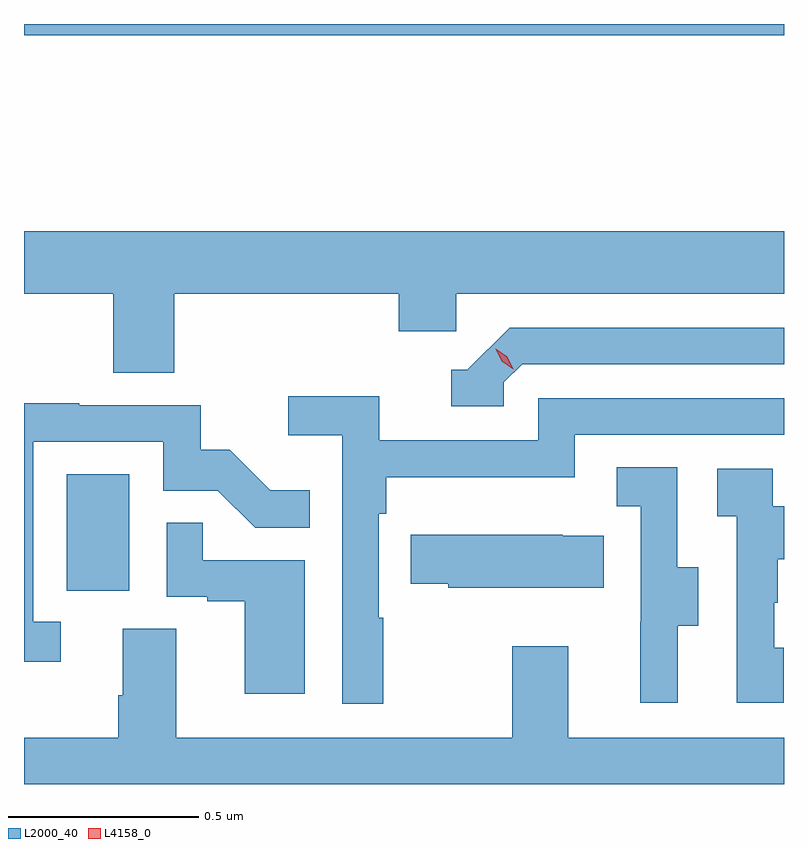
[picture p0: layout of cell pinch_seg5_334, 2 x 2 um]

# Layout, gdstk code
import gdstk
lib = gdstk.Library(unit=1e-6, precision=1e-09)
def R(c, l, rs):  # rectangles x0, y0, x1, y1
    for r in rs: c.add(gdstk.rectangle(r[:2], r[2:], *l))
def P(c, l, *ps):  # polygons
    for p in ps: c.add(gdstk.Polygon(p, *l))
L2000_40 = (2000, 40)
L4158_0 = (4158, 0)

pinch_seg5_334 = lib.new_cell('pinch_seg5_334')
R(pinch_seg5_334, L2000_40, [(936.77,878.622,936.934,878.929), (936.657,880.084,938.657,880.114)])
P(pinch_seg5_334, L2000_40, [(937.052,879.404),(937.643,879.404),(937.643,879.306),(937.794,879.306),(937.794,879.404),(938.657,879.404),(938.657,879.568),(936.657,879.568),(936.657,879.404),(936.892,879.404),(936.892,879.196),(937.052,879.196)],
  [(937.92,879.171),(937.968,879.219),(938.657,879.219),(938.657,879.315),(937.935,879.315),(937.824,879.204),(937.781,879.204),(937.781,879.108),(937.92,879.108)],
  [(937.603,878.552),(937.59,878.552),(937.59,878.825),(937.61,878.825),(937.61,878.921),(938.106,878.921),(938.106,879.033),(938.657,879.033),(938.657,879.129),(938.01,879.129),(938.01,879.018),(937.592,879.018),(937.592,879.134),(937.353,879.134),(937.353,879.032),(937.494,879.032),(937.494,878.325),(937.603,878.325)],
  [(936.754,878.541),(936.681,878.541),(936.681,879.015),(937.023,879.015),(937.023,878.886),(937.167,878.886),(937.265,878.788),(937.409,878.788),(937.409,878.887),(937.305,878.887),(937.198,878.994),(937.122,878.994),(937.122,879.111),(936.803,879.111),(936.803,879.116),(936.657,879.116),(936.657,878.436),(936.754,878.436)],
  [(938.377,878.53),(938.431,878.53),(938.431,878.685),(938.376,878.685),(938.376,878.948),(938.217,878.948),(938.217,878.845),(938.28,878.845),(938.28,878.541),(938.279,878.541),(938.279,878.328),(938.377,878.328)],
  [(938.656,878.472),(938.631,878.472),(938.631,878.591),(938.641,878.591),(938.641,878.705),(938.657,878.705),(938.657,878.845),(938.628,878.845),(938.628,878.943),(938.481,878.943),(938.481,878.819),(938.532,878.819),(938.532,878.328),(938.656,878.328)],
  [(937.396,878.703),(937.127,878.703),(937.127,878.801),(937.032,878.801),(937.032,878.607),(937.139,878.607),(937.139,878.595),(937.238,878.595),(937.238,878.352),(937.396,878.352)],
  [(938.183,878.767),(938.075,878.767),(938.075,878.77),(937.675,878.77),(937.675,878.641),(937.773,878.641),(937.773,878.63),(938.183,878.63)],
  [(938.657,878.236),(938.089,878.236),(938.089,878.476),(937.942,878.476),(937.942,878.236),(937.057,878.236),(937.057,878.522),(936.917,878.522),(936.917,878.348),(936.905,878.348),(936.905,878.236),(936.657,878.236),(936.657,878.114),(938.657,878.114)])
P(pinch_seg5_334, L4158_0, [(937.945,879.206),(937.914,879.226),(937.898,879.258),(937.898,879.259),(937.899,879.259),(937.929,879.239),(937.945,879.206),(937.945,879.206)])

lib.write_gds('pinch_seg5_334.gds')
